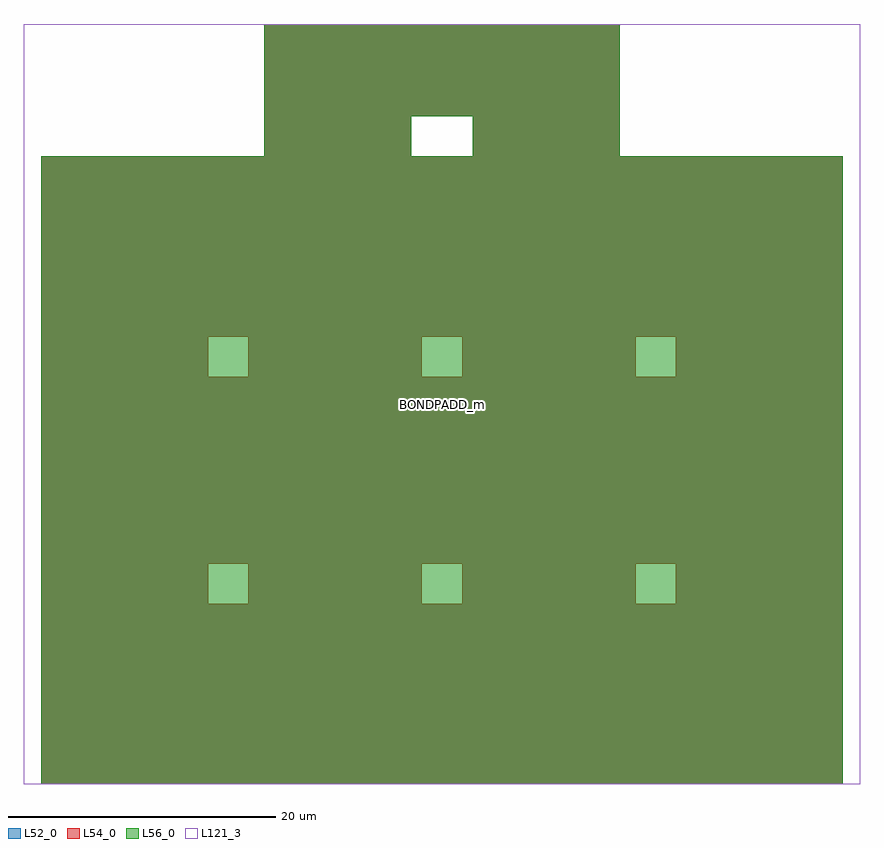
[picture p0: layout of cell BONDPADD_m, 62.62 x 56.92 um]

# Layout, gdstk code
import gdstk
lib = gdstk.Library(unit=1e-6, precision=1e-09)
def R(c, l, rs):  # rectangles x0, y0, x1, y1
    for r in rs: c.add(gdstk.rectangle(r[:2], r[2:], *l))
L52_0 = (52, 0)
L54_0 = (54, 0)
L56_0 = (56, 0)
L121_3 = (121, 3)

bondpadd_m = lib.new_cell('BONDPADD_m')
R(bondpadd_m, L52_0, [(1.31,0,61.31,13.5), (1.31,0,13.81,47), (16.81,0,29.81,47), (18,0,29,56.92), (32.81,0,45.81,47), (33.62,0,44.62,56.92), (48.81,0,61.31,47), (1.31,16.5,61.31,30.5), (1.31,33.5,61.31,47), (18,50,44.62,56.92)])
R(bondpadd_m, L54_0, [(1.31,0,61.31,13.5), (1.31,0,13.81,47), (16.81,0,29.81,47), (18,0,29,56.92), (32.81,0,45.81,47), (33.62,0,44.62,56.92), (48.81,0,61.31,47), (1.31,16.5,61.31,30.5), (1.31,33.5,61.31,47), (18,50,44.62,56.92)])
R(bondpadd_m, L56_0, [(1.31,0,61.31,47), (18,0,29,56.92), (33.62,0,44.62,56.92), (18,50,44.62,56.92)])
R(bondpadd_m, L121_3, [(0,0,62.62,56.92)])
bondpadd_m.add(gdstk.Label('BONDPADD_m', (31.31,28.46), layer=121, texttype=3))

lib.write_gds('BONDPADD_m.gds')
